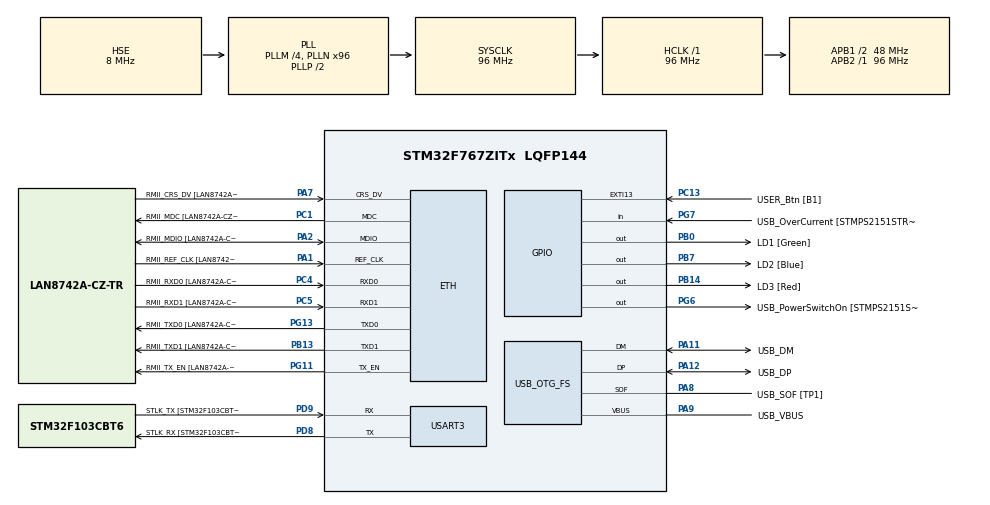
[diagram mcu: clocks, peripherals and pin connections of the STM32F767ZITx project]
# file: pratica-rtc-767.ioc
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CORTEX_M7.default_mode_Activation=1
ETH.MediaInterface=HAL_ETH_RMII_MODE
ETH.PHY_Name=LAN8742A_PHY_ADDRESS
ETH.PHY_Value=0
ETH.PhyAddress=0
Mcu.Family=STM32F7
Mcu.Name=STM32F767ZITx
Mcu.Package=LQFP144
NVIC.PriorityGroup=NVIC_PRIORITYGROUP_4
PA1.GPIO_Label=RMII_REF_CLK [LAN8742A-CZ-TR_REFCLK0]
PA1.Mode=RMII
PA1.Signal=ETH_REF_CLK
PA10.GPIO_Label=USB_ID
PA10.Signal=USB_OTG_FS_ID
PA11.GPIO_Label=USB_DM
PA11.Mode=Device_Only
PA11.Signal=USB_OTG_FS_DM
PA12.GPIO_Label=USB_DP
PA12.Mode=Device_Only
PA12.Signal=USB_OTG_FS_DP
PA13.GPIO_Label=TMS
PA13.Mode=Serial_Wire
PA13.Signal=SYS_JTMS-SWDIO
PA14.GPIO_Label=TCK
PA14.Mode=Serial_Wire
PA14.Signal=SYS_JTCK-SWCLK
PA2.GPIO_Label=RMII_MDIO [LAN8742A-CZ-TR_MDIO]
PA2.Mode=RMII
PA2.Signal=ETH_MDIO
PA7.GPIO_Label=RMII_CRS_DV [LAN8742A-CZ-TR_CRS_DV]
PA7.Mode=RMII
PA7.Signal=ETH_CRS_DV
PA8.GPIO_Label=USB_SOF [TP1]
PA8.Mode=Activate_SOF_FS
PA8.Signal=USB_OTG_FS_SOF
PA9.GPIO_Label=USB_VBUS
PA9.Mode=Activate_VBUS
PA9.Signal=USB_OTG_FS_VBUS
PB0.GPIO_Label=LD1 [Green]
PB0.Signal=GPIO_Output
PB13.GPIO_Label=RMII_TXD1 [LAN8742A-CZ-TR_TXD1]
PB13.Mode=RMII
PB13.Signal=ETH_TXD1
PB14.GPIO_Label=LD3 [Red]
PB14.Signal=GPIO_Output
PB3.GPIO_Label=SWO
PB3.Signal=SYS_JTDO-SWO
PB7.GPIO_Label=LD2 [Blue]
PB7.Signal=GPIO_Output
PC1.GPIO_Label=RMII_MDC [LAN8742A-CZ-TR_MDC]
PC1.Mode=RMII
PC1.Signal=ETH_MDC
PC13.GPIO_Label=USER_Btn [B1]
PC13.Signal=GPXTI13
PC14/OSC32_IN.Mode=LSE-External-Oscillator
PC14/OSC32_IN.Signal=RCC_OSC32_IN
PC15/OSC32_OUT.Mode=LSE-External-Oscillator
PC15/OSC32_OUT.Signal=RCC_OSC32_OUT
PC4.GPIO_Label=RMII_RXD0 [LAN8742A-CZ-TR_RXD0]
PC4.Mode=RMII
PC4.Signal=ETH_RXD0
PC5.GPIO_Label=RMII_RXD1 [LAN8742A-CZ-TR_RXD1]
PC5.Mode=RMII
PC5.Signal=ETH_RXD1
PD8.GPIO_Label=STLK_RX [STM32F103CBT6_PA3]
PD8.Mode=Asynchronous
PD8.Signal=USART3_TX
PD9.GPIO_Label=STLK_TX [STM32F103CBT6_PA2]
PD9.Mode=Asynchronous
PD9.Signal=USART3_RX
PG11.GPIO_Label=RMII_TX_EN [LAN8742A-CZ-TR_TXEN]
PG11.Mode=RMII
PG11.Signal=ETH_TX_EN
PG13.GPIO_Label=RMII_TXD0 [LAN8742A-CZ-TR_TXD0]
PG13.Mode=RMII
PG13.Signal=ETH_TXD0
PG6.GPIO_Label=USB_PowerSwitchOn [STMPS2151STR_EN]
PG6.Signal=GPIO_Output
PG7.GPIO_Label=USB_OverCurrent [STMPS2151STR_FAULT]
PG7.Signal=GPIO_Input
PH0/OSC_IN.GPIO_Label=MCO [STM32F103CBT6_PA8]
PH0/OSC_IN.Mode=HSE-External-Clock-Source
PH0/OSC_IN.Signal=RCC_OSC_IN
PH1/OSC_OUT.Mode=HSE-External-Clock-Source
PH1/OSC_OUT.Signal=RCC_OSC_OUT
ProjectManager.HeapSize=0x200
ProjectManager.StackSize=0x400
ProjectManager.TargetToolchain=STM32CubeIDE
RCC.48MHZClocksFreq_Value=24000000
RCC.AHBFreq_Value=96000000
RCC.APB1CLKDivider=RCC_HCLK_DIV2
RCC.APB1Freq_Value=48000000
RCC.APB1TimFreq_Value=96000000
RCC.APB2Freq_Value=96000000
RCC.APB2TimFreq_Value=96000000
RCC.CortexFreq_Value=96000000
RCC.HCLKFreq_Value=96000000
RCC.HSE_VALUE=8000000
RCC.HSI_VALUE=16000000
RCC.PLLM=4
RCC.PLLMUL=RCC_PLL_MUL9
RCC.PLLN=96
RCC.PLLQ=4
RCC.PRESCALERUSB=RCC_USBCLKSOURCE_PLL_DIV1_5
RCC.SYSCLKFreq_VALUE=96000000
RCC.SYSCLKSource=RCC_SYSCLKSOURCE_PLLCLK
RCC.SYSCLKSourceVirtual=RCC_SYSCLKSOURCE_PLLCLK
RCC.USBFreq_Value=48000000
RCC.VCOOutputFreq_Value=192000000
USART3.VirtualMode-Asynchronous=VM_ASYNC
USB_OTG_FS.VirtualMode=Device_Only
VP_RTC_VS_RTC_Activate.Mode=RTC_Enabled
board=NUCLEO-F767ZI

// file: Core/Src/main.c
/* USER CODE BEGIN Header */
/**
  ******************************************************************************
  * @file           : main.c
  * @brief          : Main program body
  ******************************************************************************
  * @attention
  *
  * Copyright (c) 2026 STMicroelectronics.
  * All rights reserved.
  *
  * This software is licensed under terms that can be found in the LICENSE file
  * in the root directory of this software component.
  * If no LICENSE file comes with this software, it is provided AS-IS.
  *
  ******************************************************************************
  */
/* USER CODE END Header */
#include "main.h"
#include "string.h"

/* USER CODE BEGIN Includes */
#include <stdio.h>
#include "rtc_utilities.h"
/* USER CODE END Includes */

#if defined ( __ICCARM__ ) /*!< IAR Compiler */
#pragma location=0x2007c000
ETH_DMADescTypeDef  DMARxDscrTab[ETH_RX_DESC_CNT]; /* Ethernet Rx DMA Descriptors */
#pragma location=0x2007c0a0
ETH_DMADescTypeDef  DMATxDscrTab[ETH_TX_DESC_CNT]; /* Ethernet Tx DMA Descriptors */

#elif defined ( __CC_ARM )  /* MDK ARM Compiler */

__attribute__((at(0x2007c000))) ETH_DMADescTypeDef  DMARxDscrTab[ETH_RX_DESC_CNT]; /* Ethernet Rx DMA Descriptors */
__attribute__((at(0x2007c0a0))) ETH_DMADescTypeDef  DMATxDscrTab[ETH_TX_DESC_CNT]; /* Ethernet Tx DMA Descriptors */

#elif defined ( __GNUC__ ) /* GNU Compiler */

ETH_DMADescTypeDef DMARxDscrTab[ETH_RX_DESC_CNT] __attribute__((section(".RxDecripSection"))); /* Ethernet Rx DMA Descriptors */
ETH_DMADescTypeDef DMATxDscrTab[ETH_TX_DESC_CNT] __attribute__((section(".TxDecripSection")));   /* Ethernet Tx DMA Descriptors */
#endif

ETH_TxPacketConfig TxConfig;

ETH_HandleTypeDef heth;

RTC_HandleTypeDef hrtc;

UART_HandleTypeDef huart3;

PCD_HandleTypeDef hpcd_USB_OTG_FS;

void SystemClock_Config(void);
static void MPU_Config(void);
static void MX_GPIO_Init(void);
static void MX_ETH_Init(void);
static void MX_USART3_UART_Init(void);
static void MX_USB_OTG_FS_PCD_Init(void);
static void MX_RTC_Init(void);

int main(void)
{

  /* MPU Configuration--------------------------------------------------------*/
  MPU_Config();

  /* MCU Configuration--------------------------------------------------------*/

  /* Reset of all peripherals, Initializes the Flash interface and the Systick. */
  HAL_Init();

  /* Configure the system clock */
  SystemClock_Config();

  /* Initialize all configured peripherals */
  MX_GPIO_Init();
  MX_ETH_Init();
  MX_USART3_UART_Init();
  MX_USB_OTG_FS_PCD_Init();
  MX_RTC_Init();
  /* USER CODE BEGIN 2 */
  // Inicialização padrão do RTC (valores zerados, PM ativo, dia 1 da semana, dia 01/01/00)
  RTC_InitDefault();
  /* USER CODE END 2 */

  /* Infinite loop */
  /* USER CODE BEGIN WHILE */
  uint8_t last_sec = 0xFF;
  char msg_buf[64];
  const char *days[] = {"", "Mon", "Tue", "Wed", "Thu", "Fri", "Sat", "Sun"};

  char rx_buf[32];
  uint8_t rx_idx = 0;

  while (1)
  {
    /* USER CODE END WHILE */

    /* USER CODE BEGIN 3 */
    // Limpa erro de overrun se houver ocorrido
    // 1. Limpa erros de comunicação na USART caso ocorram
    if (USART3->ISR & (USART_ISR_ORE | USART_ISR_NE | USART_ISR_FE | USART_ISR_PE))
    {
      USART3->ICR = USART_ICR_ORECF | USART_ICR_NCF | USART_ICR_FECF | USART_ICR_PECF;
    }

    // 2. Leitura não-bloqueante e ultra-rápida de todos os caracteres disponíveis na USART3
    while (USART3->ISR & USART_ISR_RXNE)
    {
      char c = (char)(USART3->RDR & 0xFF);

      // Feedback imediato no LED verde (LD1) da placa
      HAL_GPIO_TogglePin(GPIOB, LD1_Pin);

      // Trata Enter (\r ou \n) vindo do input field ou terminal
      if (c == '\r' || c == '\n')
      {
        if (rx_idx > 0)
        {
          rx_buf[rx_idx] = '\0';
          rx_idx = 0;

          RTC_CalendarTypeDef new_cal;
          RTC_StatusTypeDef status = RTC_ParseCalendarString(rx_buf, &new_cal);

          if (status == RTC_STATUS_OK)
          {
            RTC_SetCalendar(&new_cal);
            last_sec = 0xFF; // Força atualização imediata na serial
            char msg_ok[80];
            int n = snprintf(msg_ok, sizeof(msg_ok), "\r\n>>> [SUCESSO] Horario atualizado com sucesso!\r\n");
            HAL_UART_Transmit(&huart3, (uint8_t *)msg_ok, n, HAL_MAX_DELAY);
          }
          else if (status == RTC_STATUS_ERR_LIMITS)
          {
            char msg_err[100];
            int n = snprintf(msg_err, sizeof(msg_err), "\r\n>>> ERRO: valores fora do limite: \"%s\"\r\n", rx_buf);
            HAL_UART_Transmit(&huart3, (uint8_t *)msg_err, n, HAL_MAX_DELAY);
          }
          else if (status == RTC_STATUS_ERR_FORMAT)
          {
            char msg_err[120];
            int n = snprintf(msg_err, sizeof(msg_err), "\r\n>>> ERRO: formato incorreto (%d caracteres). Esperado: 16 digitos!\r\n", (int)strlen(rx_buf));
            HAL_UART_Transmit(&huart3, (uint8_t *)msg_err, n, HAL_MAX_DELAY);
          }
        }
      }
      else if (c == '\b' || c == 127) // Backspace
      {
        if (rx_idx > 0)
        {
          rx_idx--;
        }
      }
      else if (c >= '0' && c <= '9') // Dígitos numéricos
      {
        if (rx_idx < sizeof(rx_buf) - 1)
        {
          rx_buf[rx_idx++] = c;
        }

        // Se atingiu exatamente 16 dígitos, processa imediatamente (funciona tanto digitando direto quanto via campo de input)
        if (rx_idx == 16)
        {
          rx_buf[16] = '\0';
          rx_idx = 0;

          RTC_CalendarTypeDef new_cal;
          RTC_StatusTypeDef status = RTC_ParseCalendarString(rx_buf, &new_cal);

          if (status == RTC_STATUS_OK)
          {
            RTC_SetCalendar(&new_cal);
            last_sec = 0xFF; // Força atualização imediata na serial
            char msg_ok[80];
            int n = snprintf(msg_ok, sizeof(msg_ok), "\r\n>>> [SUCESSO] Horario atualizado com sucesso!\r\n");
            HAL_UART_Transmit(&huart3, (uint8_t *)msg_ok, n, HAL_MAX_DELAY);
          }
          else if (status == RTC_STATUS_ERR_LIMITS)
          {
            char msg_err[100];
            int n = snprintf(msg_err, sizeof(msg_err), "\r\n>>> ERRO: valores fora do limite: \"%s\"\r\n", rx_buf);
            HAL_UART_Transmit(&huart3, (uint8_t *)msg_err, n, HAL_MAX_DELAY);
          }
          else if (status == RTC_STATUS_ERR_FORMAT)
          {
            char msg_err[120];
            int n = snprintf(msg_err, sizeof(msg_err), "\r\n>>> ERRO: formato incorreto (%d caracteres). Esperado: 16 digitos!\r\n", 16);
            HAL_UART_Transmit(&huart3, (uint8_t *)msg_err, n, HAL_MAX_DELAY);
          }
        }
      }
    }

    // 3. Leitura dos registradores sombra TR e DR (sempre lidos juntos para destravar a sombra)
    uint32_t tr = RTC->TR;
    uint32_t dr = RTC->DR;

    // Decodifica segundos em BCD
    uint8_t sec = ((tr >> 4) & 0x7) * 10 + (tr & 0xF);

    // Se o segundo virou, formata e transmite via USART3
    if (sec != last_sec)
    {
      last_sec = sec;

      uint8_t hours = ((tr >> 20) & 0x3) * 10 + ((tr >> 16) & 0xF);
      uint8_t minutes = ((tr >> 12) & 0x7) * 10 + ((tr >> 8) & 0xF);

      // Na virada da meia-noite (00:00:00), a propagação do carry do contador de horas
      // para o registrador de data no hardware do RTC leva até 2 ciclos de RTCCLK (~60 us).
      // Ao aguardar 1 ms, garantimos que o hardware já atualizou a data e o ano em DR.
      if (hours == 0 && minutes == 0 && sec == 0)
      {
        HAL_Delay(1);
        tr = RTC->TR;
        dr = RTC->DR;
        hours = ((tr >> 20) & 0x3) * 10 + ((tr >> 16) & 0xF);
        minutes = ((tr >> 12) & 0x7) * 10 + ((tr >> 8) & 0xF);
      }

      uint8_t year = ((dr >> 20) & 0xF) * 10 + ((dr >> 16) & 0xF);
      uint8_t wday = (dr >> 13) & 0x7;
      uint8_t month = ((dr >> 12) & 0x1) * 10 + ((dr >> 8) & 0xF);
      uint8_t day = ((dr >> 4) & 0x3) * 10 + (dr & 0xF);

      const char *day_str = (wday >= 1 && wday <= 7) ? days[wday] : "???";

      int len = snprintf(msg_buf, sizeof(msg_buf), "%s, %02d/%02d/20%02d, %02d:%02d:%02d\r\n",
                         day_str, day, month, year, hours, minutes, sec);

      HAL_UART_Transmit(&huart3, (uint8_t *)msg_buf, len, HAL_MAX_DELAY);
    }
  }
  /* USER CODE END 3 */
}

void SystemClock_Config(void)
{
  RCC_OscInitTypeDef RCC_OscInitStruct = {0};
  RCC_ClkInitTypeDef RCC_ClkInitStruct = {0};

  /** Configure LSE Drive Capability
  */
  HAL_PWR_EnableBkUpAccess();

  /** Configure the main internal regulator output voltage
  */
  __HAL_RCC_PWR_CLK_ENABLE();
  __HAL_PWR_VOLTAGESCALING_CONFIG(PWR_REGULATOR_VOLTAGE_SCALE3);

  /** Initializes the RCC Oscillators according to the specified parameters
  * in the RCC_OscInitTypeDef structure.
  */
  RCC_OscInitStruct.OscillatorType = RCC_OSCILLATORTYPE_LSI|RCC_OSCILLATORTYPE_HSE;
  RCC_OscInitStruct.HSEState = RCC_HSE_BYPASS;
  RCC_OscInitStruct.LSIState = RCC_LSI_ON;
  RCC_OscInitStruct.PLL.PLLState = RCC_PLL_ON;
  RCC_OscInitStruct.PLL.PLLSource = RCC_PLLSOURCE_HSE;
  RCC_OscInitStruct.PLL.PLLM = 4;
  RCC_OscInitStruct.PLL.PLLN = 96;
  RCC_OscInitStruct.PLL.PLLP = RCC_PLLP_DIV2;
  RCC_OscInitStruct.PLL.PLLQ = 4;
  RCC_OscInitStruct.PLL.PLLR = 2;
  if (HAL_RCC_OscConfig(&RCC_OscInitStruct) != HAL_OK)
  {
    Error_Handler();
  }

  /** Activate the Over-Drive mode
  */
  if (HAL_PWREx_EnableOverDrive() != HAL_OK)
  {
    Error_Handler();
  }

  /** Initializes the CPU, AHB and APB buses clocks
  */
  RCC_ClkInitStruct.ClockType = RCC_CLOCKTYPE_HCLK|RCC_CLOCKTYPE_SYSCLK
                              |RCC_CLOCKTYPE_PCLK1|RCC_CLOCKTYPE_PCLK2;
  RCC_ClkInitStruct.SYSCLKSource = RCC_SYSCLKSOURCE_PLLCLK;
  RCC_ClkInitStruct.AHBCLKDivider = RCC_SYSCLK_DIV1;
  RCC_ClkInitStruct.APB1CLKDivider = RCC_HCLK_DIV2;
  RCC_ClkInitStruct.APB2CLKDivider = RCC_HCLK_DIV1;

  if (HAL_RCC_ClockConfig(&RCC_ClkInitStruct, FLASH_LATENCY_3) != HAL_OK)
  {
    Error_Handler();
  }
}

static void MX_ETH_Init(void)
{

   static uint8_t MACAddr[6];

  heth.Instance = ETH;
  MACAddr[0] = 0x00;
  MACAddr[1] = 0x80;
  MACAddr[2] = 0xE1;
  MACAddr[3] = 0x00;
  MACAddr[4] = 0x00;
  MACAddr[5] = 0x00;
  heth.Init.MACAddr = &MACAddr[0];
  heth.Init.MediaInterface = HAL_ETH_RMII_MODE;
  heth.Init.TxDesc = DMATxDscrTab;
  heth.Init.RxDesc = DMARxDscrTab;
  heth.Init.RxBuffLen = 1524;

  if (HAL_ETH_Init(&heth) != HAL_OK)
  {
    Error_Handler();
  }

  memset(&TxConfig, 0 , sizeof(ETH_TxPacketConfig));
  TxConfig.Attributes = ETH_TX_PACKETS_FEATURES_CSUM | ETH_TX_PACKETS_FEATURES_CRCPAD;
  TxConfig.ChecksumCtrl = ETH_CHECKSUM_IPHDR_PAYLOAD_INSERT_PHDR_CALC;
  TxConfig.CRCPadCtrl = ETH_CRC_PAD_INSERT;

}

static void MX_RTC_Init(void)
{

  /** Initialize RTC Only
  */
  hrtc.Instance = RTC;
  hrtc.Init.HourFormat = RTC_HOURFORMAT_24;
  hrtc.Init.AsynchPrediv = 127;
  hrtc.Init.SynchPrediv = 255;
  hrtc.Init.OutPut = RTC_OUTPUT_DISABLE;
  hrtc.Init.OutPutPolarity = RTC_OUTPUT_POLARITY_HIGH;
  hrtc.Init.OutPutType = RTC_OUTPUT_TYPE_OPENDRAIN;
  if (HAL_RTC_Init(&hrtc) != HAL_OK)
  {
    Error_Handler();
  }

}

static void MX_USART3_UART_Init(void)
{

  huart3.Instance = USART3;
  huart3.Init.BaudRate = 115200;
  huart3.Init.WordLength = UART_WORDLENGTH_8B;
  huart3.Init.StopBits = UART_STOPBITS_1;
  huart3.Init.Parity = UART_PARITY_NONE;
  huart3.Init.Mode = UART_MODE_TX_RX;
  huart3.Init.HwFlowCtl = UART_HWCONTROL_NONE;
  huart3.Init.OverSampling = UART_OVERSAMPLING_16;
  huart3.Init.OneBitSampling = UART_ONE_BIT_SAMPLE_DISABLE;
  huart3.AdvancedInit.AdvFeatureInit = UART_ADVFEATURE_NO_INIT;
  if (HAL_UART_Init(&huart3) != HAL_OK)
  {
    Error_Handler();
  }

}

static void MX_USB_OTG_FS_PCD_Init(void)
{

  hpcd_USB_OTG_FS.Instance = USB_OTG_FS;
  hpcd_USB_OTG_FS.Init.dev_endpoints = 6;
  hpcd_USB_OTG_FS.Init.speed = PCD_SPEED_FULL;
  hpcd_USB_OTG_FS.Init.dma_enable = DISABLE;
  hpcd_USB_OTG_FS.Init.phy_itface = PCD_PHY_EMBEDDED;
  hpcd_USB_OTG_FS.Init.Sof_enable = ENABLE;
  hpcd_USB_OTG_FS.Init.low_power_enable = DISABLE;
  hpcd_USB_OTG_FS.Init.lpm_enable = DISABLE;
  hpcd_USB_OTG_FS.Init.vbus_sensing_enable = ENABLE;
  hpcd_USB_OTG_FS.Init.use_dedicated_ep1 = DISABLE;
  if (HAL_PCD_Init(&hpcd_USB_OTG_FS) != HAL_OK)
  {
    Error_Handler();
  }

}

static void MX_GPIO_Init(void)
{
  GPIO_InitTypeDef GPIO_InitStruct = {0};

  /* GPIO Ports Clock Enable */
  __HAL_RCC_GPIOC_CLK_ENABLE();
  __HAL_RCC_GPIOH_CLK_ENABLE();
  __HAL_RCC_GPIOA_CLK_ENABLE();
  __HAL_RCC_GPIOB_CLK_ENABLE();
  __HAL_RCC_GPIOD_CLK_ENABLE();
  __HAL_RCC_GPIOG_CLK_ENABLE();

  /*Configure GPIO pin Output Level */
  HAL_GPIO_WritePin(GPIOB, LD1_Pin|LD3_Pin|LD2_Pin, GPIO_PIN_RESET);

  /*Configure GPIO pin Output Level */
  HAL_GPIO_WritePin(USB_PowerSwitchOn_GPIO_Port, USB_PowerSwitchOn_Pin, GPIO_PIN_RESET);

  /*Configure GPIO pin : USER_Btn_Pin */
  GPIO_InitStruct.Pin = USER_Btn_Pin;
  GPIO_InitStruct.Mode = GPIO_MODE_IT_RISING;
  GPIO_InitStruct.Pull = GPIO_NOPULL;
  HAL_GPIO_Init(USER_Btn_GPIO_Port, &GPIO_InitStruct);

  /*Configure GPIO pins : LD1_Pin LD3_Pin LD2_Pin */
  GPIO_InitStruct.Pin = LD1_Pin|LD3_Pin|LD2_Pin;
  GPIO_InitStruct.Mode = GPIO_MODE_OUTPUT_PP;
  GPIO_InitStruct.Pull = GPIO_NOPULL;
  GPIO_InitStruct.Speed = GPIO_SPEED_FREQ_LOW;
  HAL_GPIO_Init(GPIOB, &GPIO_InitStruct);

  /*Configure GPIO pin : USB_PowerSwitchOn_Pin */
  GPIO_InitStruct.Pin = USB_PowerSwitchOn_Pin;
  GPIO_InitStruct.Mode = GPIO_MODE_OUTPUT_PP;
  GPIO_InitStruct.Pull = GPIO_NOPULL;
  GPIO_InitStruct.Speed = GPIO_SPEED_FREQ_LOW;
  HAL_GPIO_Init(USB_PowerSwitchOn_GPIO_Port, &GPIO_InitStruct);

  /*Configure GPIO pin : USB_OverCurrent_Pin */
  GPIO_InitStruct.Pin = USB_OverCurrent_Pin;
  GPIO_InitStruct.Mode = GPIO_MODE_INPUT;
  GPIO_InitStruct.Pull = GPIO_NOPULL;
  HAL_GPIO_Init(USB_OverCurrent_GPIO_Port, &GPIO_InitStruct);

}

 /* MPU Configuration */

void MPU_Config(void)
{
  MPU_Region_InitTypeDef MPU_InitStruct = {0};

  /* Disables the MPU */
  HAL_MPU_Disable();

  /** Initializes and configures the Region and the memory to be protected
  */
  MPU_InitStruct.Enable = MPU_REGION_ENABLE;
  MPU_InitStruct.Number = MPU_REGION_NUMBER0;
  MPU_InitStruct.BaseAddress = 0x0;
  MPU_InitStruct.Size = MPU_REGION_SIZE_4GB;
  MPU_InitStruct.SubRegionDisable = 0x87;
  MPU_InitStruct.TypeExtField = MPU_TEX_LEVEL0;
  MPU_InitStruct.AccessPermission = MPU_REGION_NO_ACCESS;
  MPU_InitStruct.DisableExec = MPU_INSTRUCTION_ACCESS_DISABLE;
  MPU_InitStruct.IsShareable = MPU_ACCESS_SHAREABLE;
  MPU_InitStruct.IsCacheable = MPU_ACCESS_NOT_CACHEABLE;
  MPU_InitStruct.IsBufferable = MPU_ACCESS_NOT_BUFFERABLE;

  HAL_MPU_ConfigRegion(&MPU_InitStruct);
  /* Enables the MPU */
  HAL_MPU_Enable(MPU_PRIVILEGED_DEFAULT);

}

void Error_Handler(void)
{
  __disable_irq();
  while (1)
  {
  }
}
